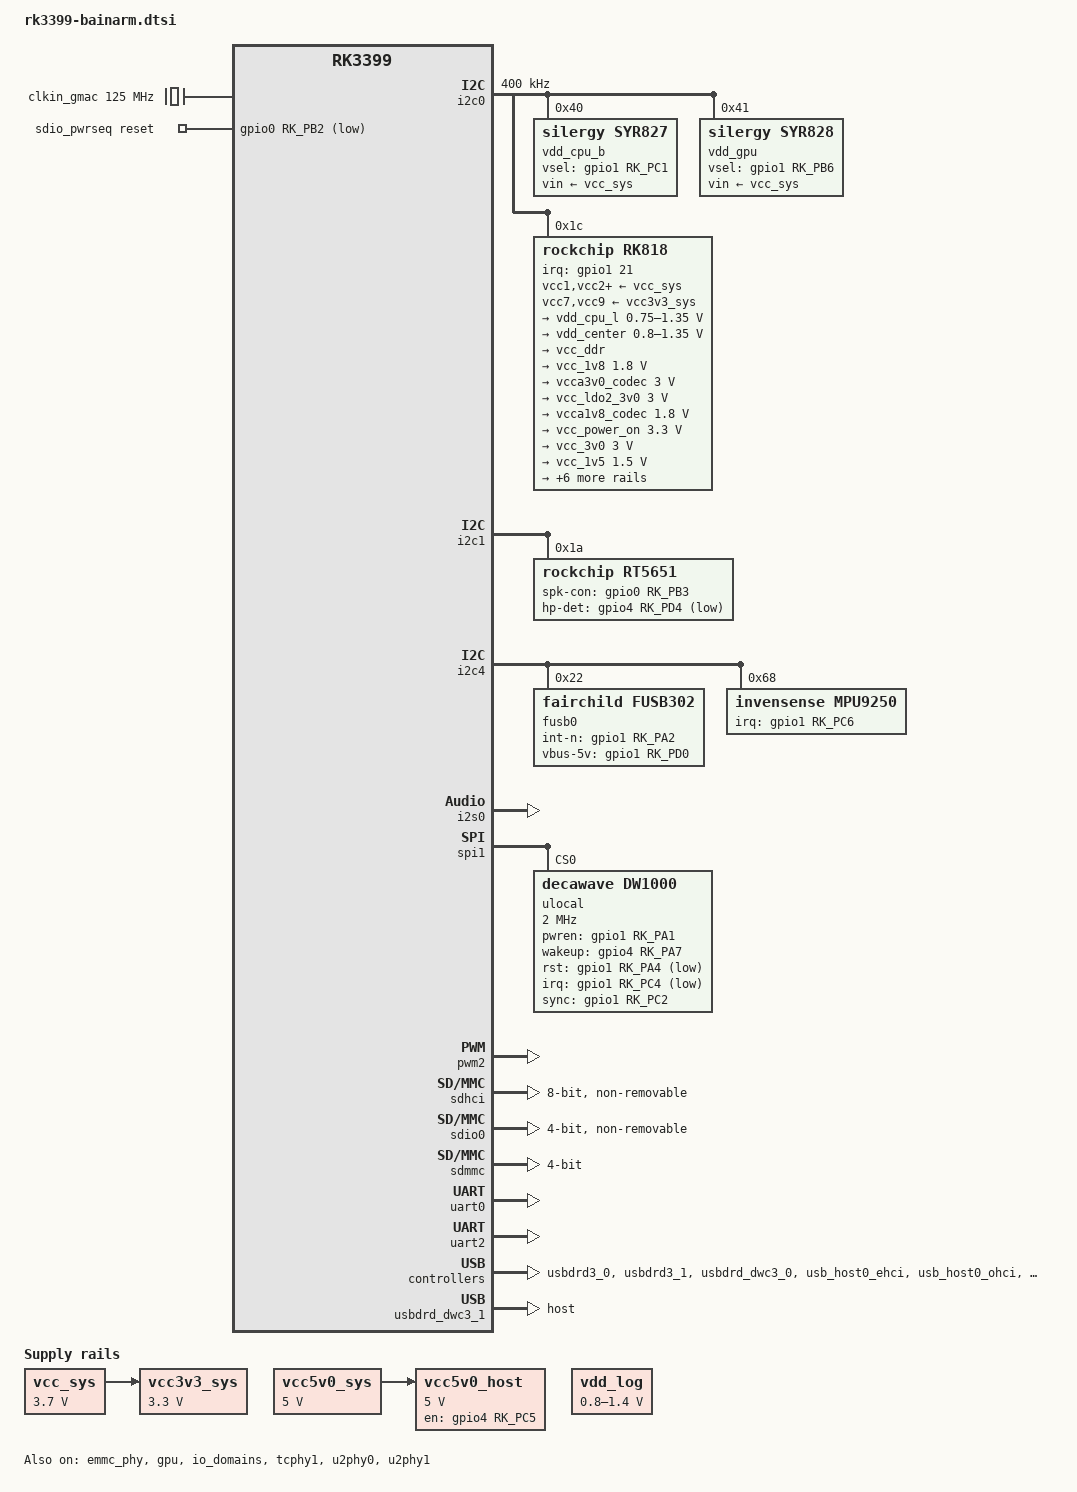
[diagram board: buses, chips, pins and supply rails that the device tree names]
/*
 * Copyright (c) 2016 Fuzhou Rockchip Electronics Co., Ltd
 *
 * This file is dual-licensed: you can use it either under the terms
 * of the GPL or the X11 license, at your option. Note that this dual
 * licensing only applies to this file, and not this project as a
 * whole.
 *
 *  a) This file is free software; you can redistribute it and/or
 *     modify it under the terms of the GNU General Public License as
 *     published by the Free Software Foundation; either version 2 of the
 *     License, or (at your option) any later version.
 *
 *     This file is distributed in the hope that it will be useful,
 *     but WITHOUT ANY WARRANTY; without even the implied warranty of
 *     MERCHANTABILITY or FITNESS FOR A PARTICULAR PURPOSE.  See the
 *     GNU General Public License for more details.
 *
 * Or, alternatively,
 *
 *  b) Permission is hereby granted, free of charge, to any person
 *     obtaining a copy of this software and associated documentation
 *     files (the "Software"), to deal in the Software without
 *     restriction, including without limitation the rights to use,
 *     copy, modify, merge, publish, distribute, sublicense, and/or
 *     sell copies of the Software, and to permit persons to whom the
 *     Software is furnished to do so, subject to the following
 *     conditions:
 *
 *     The above copyright notice and this permission notice shall be
 *     included in all copies or substantial portions of the Software.
 *
 *     THE SOFTWARE IS PROVIDED "AS IS", WITHOUT WARRANTY OF ANY KIND,
 *     EXPRESS OR IMPLIED, INCLUDING BUT NOT LIMITED TO THE WARRANTIES
 *     OF MERCHANTABILITY, FITNESS FOR A PARTICULAR PURPOSE AND
 *     NONINFRINGEMENT. IN NO EVENT SHALL THE AUTHORS OR COPYRIGHT
 *     HOLDERS BE LIABLE FOR ANY CLAIM, DAMAGES OR OTHER LIABILITY,
 *     WHETHER IN AN ACTION OF CONTRACT, TORT OR OTHERWISE, ARISING
 *     FROM, OUT OF OR IN CONNECTION WITH THE SOFTWARE OR THE USE OR
 *     OTHER DEALINGS IN THE SOFTWARE.
 */

#include <dt-bindings/pwm/pwm.h>
#include "rk3399.dtsi"
#include "rk3399-opp.dtsi"

/ {
	compatible = "rockchip,rk3399-bainarm", "rockchip,rk3399";

	clkin_gmac: external-gmac-clock {
		compatible = "fixed-clock";
		clock-frequency = <125000000>;
		clock-output-names = "clkin_gmac";
		#clock-cells = <0>;
	};

	dw_hdmi_audio: dw-hdmi-audio {
		status = "disabled";
		compatible = "rockchip,dw-hdmi-audio";
		#sound-dai-cells = <0>;
	};

	hdmi_sound: hdmi-sound {
		status = "okay";
		compatible = "simple-audio-card";
		simple-audio-card,format = "i2s";
		simple-audio-card,mclk-fs = <256>;
		simple-audio-card,name = "rockchip,hdmi";

		simple-audio-card,cpu {
			sound-dai = <&i2s2>;
		};
		simple-audio-card,codec {
			sound-dai = <&hdmi>;
		};
	};
	
	sdio_pwrseq: sdio-pwrseq {
		compatible = "mmc-pwrseq-simple";
		clocks = <&rk818 1>;
		clock-names = "ext_clock";
		pinctrl-names = "default";
		pinctrl-0 = <&wifi_enable_h>;

		/*
		 * On the module itself this is one of these (depending
		 * on the actual card populated):
		 * - SDIO_RESET_L_WL_REG_ON
		 * - PDN (power down when low)
		 */
		reset-gpios = <&gpio0 RK_PB2 GPIO_ACTIVE_LOW>; /* GPIO0_B2 */
	};	
	
	
	vcc_sys: vcc-sys {
		compatible = "regulator-fixed";
		regulator-name = "vcc_sys";
		regulator-always-on;
		regulator-boot-on;
		regulator-min-microvolt = <3700000>;
		regulator-max-microvolt = <3700000>;
	};

	vcc3v3_sys: vcc3v3-sys {
		compatible = "regulator-fixed";
		regulator-name = "vcc3v3_sys";
		regulator-always-on;
		regulator-boot-on;
		regulator-min-microvolt = <3300000>;
		regulator-max-microvolt = <3300000>;
		vin-supply = <&vcc_sys>;
	};

	vcc5v0_host: vcc5v0-host-regulator {
		compatible = "regulator-fixed";
		enable-active-high;
		gpio = <&gpio4 RK_PC5 GPIO_ACTIVE_HIGH>;
		pinctrl-names = "default";
		pinctrl-0 = <&vcc5v0_host_en>;
		regulator-name = "vcc5v0_host";
		regulator-always-on;
		regulator-min-microvolt = <5000000>;
		regulator-max-microvolt = <5000000>;
		vin-supply = <&vcc5v0_sys>;
	};

	vcc5v0_sys: vcc5v0-sys {
		compatible = "regulator-fixed";
		regulator-name = "vcc5v0_sys";
		regulator-always-on;
		regulator-boot-on;
		regulator-min-microvolt = <5000000>;
		regulator-max-microvolt = <5000000>;
	};

	vdd_log: vdd-log {
		compatible = "pwm-regulator";
		pwms = <&pwm2 0 25000 1>;
		regulator-name = "vdd_log";
		regulator-min-microvolt = <800000>;
		regulator-max-microvolt = <1400000>;
		regulator-always-on;
		regulator-boot-on;

		/* for rockchip boot on */
		rockchip,pwm_id= <2>;
		rockchip,pwm_voltage = <1000000>;
	};
};

&cpu_l0 {
	cpu-supply = <&vdd_cpu_l>;
};

&cpu_l1 {
	cpu-supply = <&vdd_cpu_l>;
};

&cpu_l2 {
	cpu-supply = <&vdd_cpu_l>;
};

&cpu_l3 {
	cpu-supply = <&vdd_cpu_l>;
};

&cpu_b0 {
	cpu-supply = <&vdd_cpu_b>;
};

&cpu_b1 {
	cpu-supply = <&vdd_cpu_b>;
};

&emmc_phy {
	status = "okay";
};

&gpu {
	status = "okay";
	mali-supply = <&vdd_gpu>;
};

&i2c0 {
	status = "okay";
	i2c-scl-rising-time-ns = <168>;
	i2c-scl-falling-time-ns = <4>;
	clock-frequency = <400000>;

	vdd_cpu_b: syr837@40 {
		compatible = "silergy,syr827";
		reg = <0x40>;
		vin-supply = <&vcc_sys>;
		regulator-compatible = "fan53555-reg";
		pinctrl-0 = <&cpu_b_sleep_h>;
		vsel-gpios = <&gpio1 RK_PC1 GPIO_ACTIVE_HIGH>;
		regulator-name = "vdd_cpu_b";
		regulator-min-microvolt = <712500>;
		regulator-max-microvolt = <1500000>;
		regulator-ramp-delay = <1000>;
		fcs,suspend-voltage-selector = <1>;
		regulator-always-on;
		regulator-initial-state = <3>;
		regulator-state-mem {
			regulator-off-in-suspend;
		};
	};	
	
	vdd_gpu: syr828@41 {
		compatible = "silergy,syr828";
		reg = <0x41>;
		vin-supply = <&vcc_sys>;
		regulator-compatible = "fan53555-reg";
		pinctrl-names = "default";
		pinctrl-0 = <&gpu_sleep_h>;
		vsel-gpios = <&gpio1 RK_PB6 GPIO_ACTIVE_HIGH>;
		regulator-name = "vdd_gpu";
		regulator-min-microvolt = <735000>;
		regulator-max-microvolt = <1400000>;
		regulator-ramp-delay = <1000>;
		fcs,suspend-voltage-selector = <1>;
		regulator-always-on;
		regulator-boot-on;
		regulator-initial-state = <3>;
		regulator-state-mem {
			regulator-off-in-suspend;
		};
	};
	
	rk818: pmic@1c {
		compatible = "rockchip,rk818";
		status = "okay";
		reg = <0x1c>;
		clock-output-names = "xin32k", "wifibt_32kin";
		interrupt-parent = <&gpio1>;
		interrupts = <21 IRQ_TYPE_LEVEL_LOW>;
		pinctrl-names = "default";
		pinctrl-0 = <&pmic_int_l>;
		rockchip,system-power-controller;
		rk818,support_dc_chg = <1>;/*1: dc chg; 0:usb chg*/
		wakeup-source;
		extcon = <&fusb0>;
		#clock-cells = <1>;

		vcc1-supply = <&vcc_sys>;
		vcc2-supply = <&vcc_sys>;
		vcc3-supply = <&vcc_sys>;
		vcc4-supply = <&vcc_sys>;
		vcc6-supply = <&vcc_sys>;
		vcc7-supply = <&vcc3v3_sys>;
		vcc8-supply = <&vcc_sys>;
		vcc9-supply = <&vcc3v3_sys>;

		regulators {
			vdd_cpu_l: DCDC_REG1 {
				regulator-name = "vdd_cpu_l";
				regulator-always-on;
				regulator-boot-on;
				regulator-min-microvolt = <750000>;
				regulator-max-microvolt = <1350000>;
				regulator-ramp-delay = <6001>;
				regulator-state-mem {
					regulator-off-in-suspend;
				};
			};

			vdd_center: DCDC_REG2 {
				regulator-name = "vdd_center";
				regulator-always-on;
				regulator-boot-on;
				regulator-min-microvolt = <800000>;
				regulator-max-microvolt = <1350000>;
				regulator-ramp-delay = <6001>;
				regulator-state-mem {
					regulator-off-in-suspend;
				};
			};

			vcc_ddr: DCDC_REG3 {
				regulator-name = "vcc_ddr";
				regulator-always-on;
				regulator-boot-on;
				regulator-state-mem {
					regulator-on-in-suspend;
				};
			};

			vcc_1v8: DCDC_REG4 {
				regulator-name = "vcc_1v8";
				regulator-always-on;
				regulator-boot-on;
				regulator-min-microvolt = <1800000>;
				regulator-max-microvolt = <1800000>;
				regulator-state-mem {
					regulator-on-in-suspend;
					regulator-suspend-microvolt = <1800000>;
				};
			};

			vcca3v0_codec: LDO_REG1 {
				regulator-always-on;
				regulator-boot-on;
				regulator-min-microvolt = <3000000>;
				regulator-max-microvolt = <3000000>;
				regulator-name = "vcca3v0_codec";
				regulator-state-mem {
					regulator-off-in-suspend;
				};
			};

			vcc_ldo2_3v0: LDO_REG2 {
				regulator-min-microvolt = <3000000>;
				regulator-max-microvolt = <3000000>;
				regulator-name = "vcc_ldo2_3v0";
				regulator-state-mem {
					regulator-off-in-suspend;
				};
			};

			vcca1v8_codec: LDO_REG3 {
				regulator-always-on;
				regulator-boot-on;
				regulator-min-microvolt = <1800000>;
				regulator-max-microvolt = <1800000>;
				regulator-name = "vcca1v8_codec";
				regulator-state-mem {
					regulator-off-in-suspend;
				};
			};

			vcc_power_on: LDO_REG4 {
				regulator-always-on;
				regulator-boot-on;
				regulator-min-microvolt = <3300000>;
				regulator-max-microvolt = <3300000>;
				regulator-name = "vcc_power_on";
				regulator-state-mem {
					regulator-on-in-suspend;
					regulator-suspend-microvolt = <3300000>;
				};
			};

			vcc_3v0: LDO_REG5 {
				regulator-always-on;
				regulator-boot-on;
				regulator-min-microvolt = <3000000>;
				regulator-max-microvolt = <3000000>;
				regulator-name = "vcc_3v0";
				regulator-state-mem {
					regulator-on-in-suspend;
					regulator-suspend-microvolt = <3000000>;
				};
			};

			vcc_1v5: LDO_REG6 {
				regulator-always-on;
				regulator-boot-on;
				regulator-min-microvolt = <1500000>;
				regulator-max-microvolt = <1500000>;
				regulator-name = "vcc_1v5";
				regulator-state-mem {
					regulator-on-in-suspend;
					regulator-suspend-microvolt = <1500000>;
				};
			};

			vcc1v8_dvp: LDO_REG7 {
				regulator-always-on;
				regulator-boot-on;
				regulator-min-microvolt = <1800000>;
				regulator-max-microvolt = <1800000>;
				regulator-name = "vcc1v8_dvp";
				regulator-state-mem {
					regulator-off-in-suspend;
				};
			};

			vcc3v3_s3: LDO_REG8 {
				regulator-always-on;
				regulator-boot-on;
				regulator-min-microvolt = <3300000>;
				regulator-max-microvolt = <3300000>;
				regulator-name = "vcc3v3_s3";
				regulator-state-mem {
					regulator-off-in-suspend;
				};
			};

			vcc_sd: LDO_REG9 {
				regulator-always-on;
				regulator-boot-on;
				regulator-min-microvolt = <1800000>;
				regulator-max-microvolt = <3300000>;
				regulator-name = "vcc_sd";
				regulator-state-mem {
					regulator-on-in-suspend;
					regulator-suspend-microvolt = <3300000>;
				};
			};

			vcc3v3_s0: SWITCH_REG {
				regulator-always-on;
				regulator-boot-on;
				regulator-name = "vcc3v3_s0";
				regulator-state-mem {
					regulator-on-in-suspend;
				};
			};

			boost_otg: DCDC_BOOST {
				regulator-name = "boost_otg";
				regulator-always-on;
				regulator-boot-on;
				regulator-min-microvolt = <5000000>;
				regulator-max-microvolt = <5000000>;
				regulator-state-mem {
					regulator-on-in-suspend;
					regulator-suspend-microvolt = <5000000>;
				};
			};

			otg_switch: OTG_SWITCH {
				regulator-name = "otg_switch";
			};
		};

		battery {
			compatible = "rk818-battery";
			ocv_table = <3400 3675 3689 3716 3740 3756 3768 3780
				3793 3807 3827 3853 3896 3937 3974 4007 4066
				4110 4161 4217 4308>;
			design_capacity = <7916>;
			design_qmax = <8708>;
			bat_res = <65>;
			max_input_current = <3000>;
			max_chrg_current = <3000>;
			max_chrg_voltage = <4350>;
			sleep_enter_current = <300>;
			sleep_exit_current = <300>;
			power_off_thresd = <3400>;
			zero_algorithm_vol = <3950>;
			fb_temperature = <105>;
			sample_res = <20>;
			max_soc_offset = <60>;
			energy_mode = <0>;
			monitor_sec = <5>;
			virtual_power = <0>;
			power_dc2otg = <0>;
		};
	};
};


&i2c1 {
	status = "okay";
	
	rt5651: rt5651@1a {
		status = "okay";
		#sound-dai-cells = <0>;
		compatible = "rockchip,rt5651";
		reg = <0x1a>;
		clocks = <&cru SCLK_I2S_8CH_OUT>;
		clock-names = "mclk";
		spk-con-gpio = <&gpio0 RK_PB3 GPIO_ACTIVE_HIGH>;
		hp-det-gpio = <&gpio4 RK_PD4 GPIO_ACTIVE_LOW>;
	};
};


&i2c4 {
	status = "okay";

	fusb0: fusb30x@22 {
		compatible = "fairchild,fusb302";
		reg = <0x22>;
		pinctrl-names = "default";
		pinctrl-0 = <&fusb0_int>;
		int-n-gpios = <&gpio1 RK_PA2 GPIO_ACTIVE_HIGH>;
		vbus-5v-gpios = <&gpio1 RK_PD0 GPIO_ACTIVE_HIGH>;
		status = "okay";
	};

	mpu9250@68 {
		status = "okay";
		compatible = "invensense,mpu9250";
		reg = <0x68>;
		irq-gpio = <&gpio1 RK_PC6 IRQ_TYPE_EDGE_RISING>;
		mpu-int_config = <0x10>;
		mpu-level_shifter = <0>;
		mpu-orientation = <0 1 0 1 0 0 0 0 1>;
		orientation-x= <1>;
		orientation-y= <0>;
		orientation-z= <0>;
		mpu-debug = <1>;
	};	
};

&i2s0 {
	status = "okay";
	rockchip,i2s-broken-burst-len;
	rockchip,playback-channels = <8>;
	rockchip,capture-channels = <8>;
	rockchip,bclk-fs = <32>;
	#sound-dai-cells = <0>;
};

&spi1 {
	status = "okay";
	max-freq = <50000000>;
	
	ulocal: ulocal@0 {
		status = "okay";
		compatible = "decawave,dw1000";
		pinctrl-names = "default";
		//pinctrl-0 = <&dw1000_irq_gpio>;
		//irq-gpio = <&gpio1 20 IRQ_TYPE_EDGE_RISING>;
		
		pwren-gpios = <&gpio1 RK_PA1 GPIO_ACTIVE_HIGH>;
		wakeup-gpios = <&gpio4 RK_PA7 GPIO_ACTIVE_HIGH>;
		rst-gpios = <&gpio1 RK_PA4 GPIO_ACTIVE_LOW>;
		irq-gpios = <&gpio1 RK_PC4 GPIO_ACTIVE_LOW>;
		sync-gpios = <&gpio1 RK_PC2 GPIO_ACTIVE_HIGH>;

		reg = <0>;
		spi-max-frequency = <2000000>;
		spi-cpha;
		spi-cpol;
		mpu-int_config = <0x00>;
		mpu-level_shifter = <0>;
		mpu-orientation = <1 0 0 0 1 0 0 0 1>;
		orientation-x= <1>;
		orientation-y= <0>;
		orientation-z= <1>;
		support-hw-poweroff = <1>;
		mpu-debug = <1>;
	};
};

&io_domains {
	status = "okay";

	bt656-supply = <&vcc1v8_dvp>;		/* bt656_gpio2ab_ms */
	audio-supply = <&vcca1v8_codec>;	/* audio_gpio3d4a_ms */
	sdmmc-supply = <&vcc_sd>;		/* sdmmc_gpio4b_ms */
	gpio1830-supply = <&vcc_3v0>;		/* gpio1833_gpio4cd_ms */
};

&pmu_io_domains {
	status = "okay";
	pmu1830-supply = <&vcc_1v8>;
};

&pwm2 {
	status = "okay";
};

&sdhci {
	bus-width = <8>;
	mmc-hs400-1_8v;
	supports-emmc;
	non-removable;
	keep-power-in-suspend;
	mmc-hs400-enhanced-strobe;
	status = "okay";
};

&sdio0 {
	clock-frequency = <150000000>;
	clock-freq-min-max = <400000 150000000>;
	supports-sdio;
	bus-width = <4>;
	disable-wp;
	cap-sd-highspeed;
	cap-sdio-irq;
	keep-power-in-suspend;
	mmc-pwrseq = <&sdio_pwrseq>;
	non-removable;
	num-slots = <1>;
	pinctrl-names = "default";
	pinctrl-0 = <&sdio0_bus4 &sdio0_cmd &sdio0_clk>;
	sd-uhs-sdr104;
	status = "okay";
};

&sdmmc {
	clock-frequency = <150000000>;
	clock-freq-min-max = <400000 150000000>;
	supports-sd;
	bus-width = <4>;
	cap-mmc-highspeed;
	cap-sd-highspeed;
	disable-wp;
	num-slots = <1>;
	sd-uhs-sdr104;
	vqmmc-supply = <&vcc_sd>;
	pinctrl-names = "default";
	pinctrl-0 = <&sdmmc_clk &sdmmc_cmd &sdmmc_cd &sdmmc_bus4>;
	status = "okay";
};

&tcphy0 {
	extcon = <&fusb0>;
	status = "disabled";//wenyi
};

&tcphy1 {
	status = "okay";
};

&tsadc {
	/* tshut mode 0:CRU 1:GPIO */
	rockchip,hw-tshut-mode = <1>;
	/* tshut polarity 0:LOW 1:HIGH */
	rockchip,hw-tshut-polarity = <1>;
	status = "disabled";
};

&u2phy0 {
	status = "okay";
	extcon = <&fusb0>;

	u2phy0_otg: otg-port {
		status = "okay";
	};

	u2phy0_host: host-port {
		phy-supply = <&vcc5v0_host>;
		status = "okay";
	};
};

&u2phy1 {
	status = "okay";

	u2phy1_otg: otg-port {
		status = "okay";
	};

	u2phy1_host: host-port {
		phy-supply = <&vcc5v0_host>;
		status = "okay";
	};
};

&uart0 {
	pinctrl-names = "default";
	pinctrl-0 = <&uart0_xfer &uart0_cts>;
	status = "okay";
};

&uart2 {
	status = "okay";
};

&usbdrd3_0 {
	status = "okay";
	extcon = <&fusb0>;
};

&usbdrd3_1 {
	status = "okay";
};

&usbdrd_dwc3_0 {
	status = "okay";
};

&usbdrd_dwc3_1 {
	status = "okay";
	dr_mode = "host";
};

&usb_host0_ehci {
	status = "okay";
};

&usb_host0_ohci {
	status = "okay";
};

&usb_host1_ehci {
	status = "okay";
};

&usb_host1_ohci {
	status = "okay";
};

&pinctrl {
	pmic {
		cpu_b_sleep_h: cpub-sleep-h {
			rockchip,pins =
				<1 RK_PC1 RK_FUNC_GPIO &pcfg_pull_down>;
		};
		gpu_sleep_h: gpu-sleep-h {
			rockchip,pins =
				<1 RK_PB6 RK_FUNC_GPIO &pcfg_pull_down>;
		};
		pmic_int_l: pmic-int-l {
			rockchip,pins =
				<1 RK_PC5 RK_FUNC_GPIO &pcfg_pull_up>;
		};
	};

	usb2 {
		vcc5v0_host_en: vcc5v0-host-en {
			rockchip,pins =
				<4 RK_PC5 RK_FUNC_GPIO &pcfg_pull_none>;
		};
	};

	fusb30x {
		fusb0_int: fusb0-int {
			rockchip,pins = <1 RK_PA2 RK_FUNC_GPIO &pcfg_pull_up>;
		};
	};
	
	dw1000 {
		dw1000_irq_gpio: dw1000-irq-gpio {
			rockchip,pins = <1 RK_PC4 RK_FUNC_GPIO &pcfg_pull_none>;
		};
	};
};
